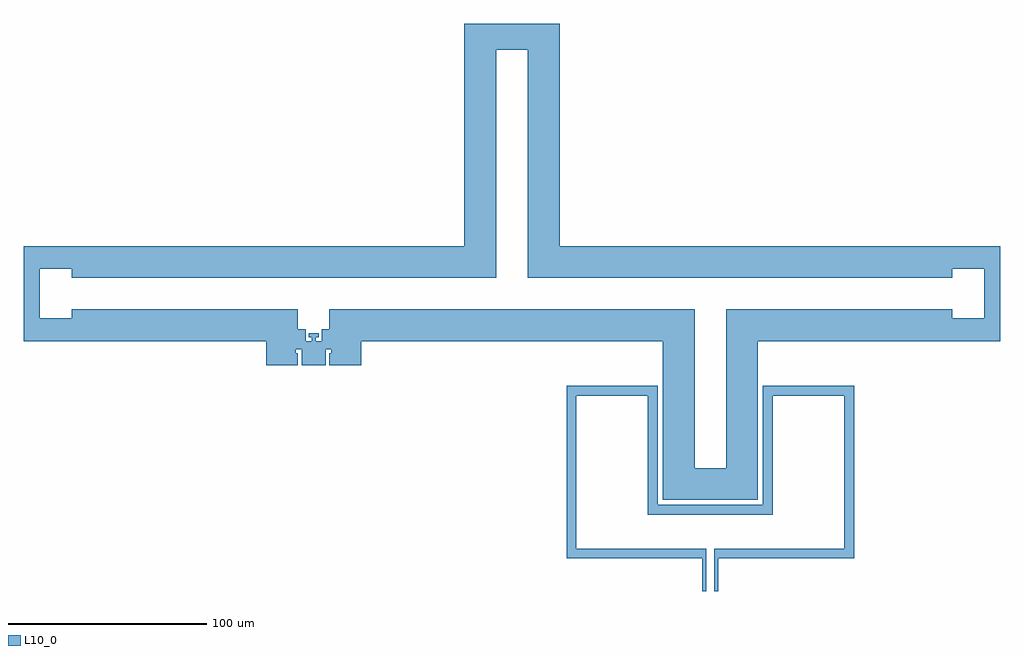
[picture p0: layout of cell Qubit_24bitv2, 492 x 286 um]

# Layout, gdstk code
import gdstk
lib = gdstk.Library(unit=1e-6, precision=1e-09)
def R(c, l, rs):  # rectangles x0, y0, x1, y1
    for r in rs: c.add(gdstk.rectangle(r[:2], r[2:], *l))
def P(c, l, *ps):  # polygons
    for p in ps: c.add(gdstk.Polygon(p, *l))
L10_0 = (10, 0)

qubit_24bitv2 = lib.new_cell('Qubit_24bitv2')
R(qubit_24bitv2, L10_0, [(96,-136,98,-119.5), (102,-136,104,-119.5), (27.5,-119.5,32.5,-32.5), (32.5,-119.5,98,-114.5), (102,-119.5,167.5,-114.5), (167.5,-119.5,172.5,-32.5), (68.5,-97.5,131.5,-92.5), (68.5,-92.5,73.5,-32.5), (126.5,-92.5,131.5,-32.5), (76,-90,92,-10), (92,-90,108,-74), (108,-90,124,-10), (32.5,-37.5,68.5,-32.5), (131.5,-37.5,167.5,-32.5), (-246,-10,-238,38), (-238,-10,-222,1.5), (-222,-10,-206,6), (-206,-10,-158,6), (-158,-10,-124,6), (-76,-10,92,6), (108,-10,158,6), (158,-10,206,6), (206,-10,222,6), (222,-10,238,1.5), (238,-10,246,38), (-222,22,-206,38), (-206,22,-32,38), (-32,22,-8,38), (8,22,32,38), (32,22,206,38), (206,22,222,38), (-238,26.5,-222,38), (222,26.5,238,38), (-24,38,-8,110), (8,38,24,110), (-24,110,-8,126), (8,110,24,126), (-24,126,-8,142), (8,126,24,142), (-8,137,0,150), (0,137,8,150), (-24,142,-8,150), (8,142,24,150)])
P(qubit_24bitv2, L10_0, [(-124,6),(-108,6),(-108,-4),(-104,-4),(-104,-10),(-101,-10),(-101,-8),(-102.5,-8),(-102.5,-6),(-97.5,-6),(-97.5,-8),(-99,-8),(-99,-10),(-96,-10),(-96,-4),(-92,-4),(-92,6),(-76,6),(-76,-22),(-92,-22),(-92,-16),(-91,-16),(-91,-14),(-94,-14),(-94,-22),(-106,-22),(-106,-14),(-109,-14),(-109,-16),(-108,-16),(-108,-22),(-124,-22)])

lib.write_gds('Qubit_24bitv2.gds')
